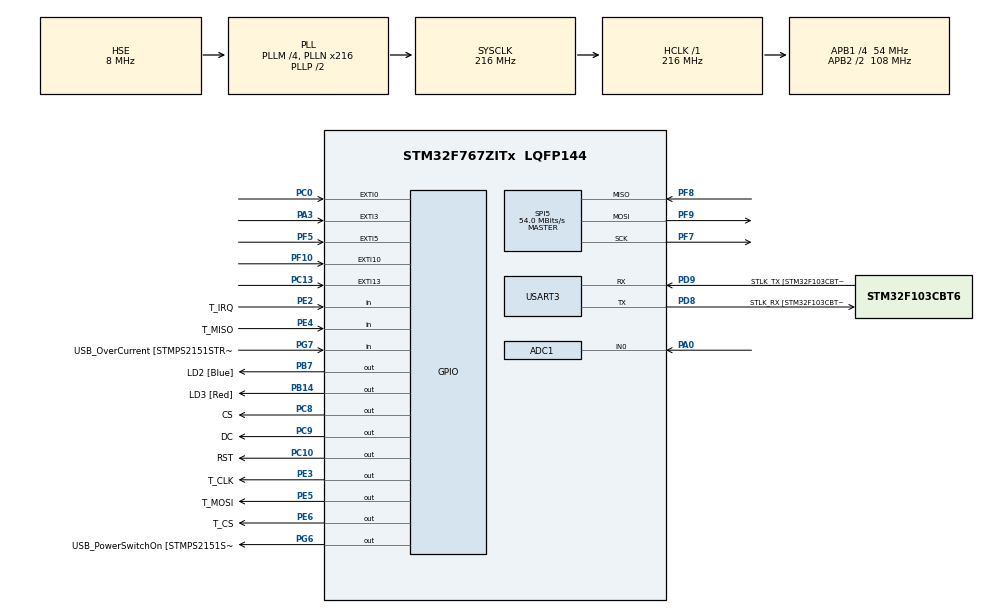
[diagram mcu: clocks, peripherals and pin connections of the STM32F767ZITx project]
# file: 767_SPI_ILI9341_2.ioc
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ADC1.Channel-1\#ChannelRegularConversion=ADC_CHANNEL_0
ADC1.ContinuousConvMode=ENABLE
ADC1.DMAContinuousRequests=ENABLE
ADC1.EOCSelection=ADC_EOC_SEQ_CONV
ADC1.NbrOfConversionFlag=1
ADC1.Rank-1\#ChannelRegularConversion=1
ADC1.SamplingTime-1\#ChannelRegularConversion=ADC_SAMPLETIME_480CYCLES
ADC1.master=1
CORTEX_M7.ART_ACCLERATOR_ENABLE=1
CORTEX_M7.CPU_DCache=Enabled
CORTEX_M7.CPU_ICache=Enabled
CORTEX_M7.PREFETCH_ENABLE=1
Dma.ADC1.0.Direction=DMA_PERIPH_TO_MEMORY
Dma.ADC1.0.FIFOMode=DMA_FIFOMODE_DISABLE
Dma.ADC1.0.Instance=DMA2_Stream0
Dma.ADC1.0.MemDataAlignment=DMA_MDATAALIGN_HALFWORD
Dma.ADC1.0.MemInc=DMA_MINC_ENABLE
Dma.ADC1.0.Mode=DMA_CIRCULAR
Dma.ADC1.0.PeriphDataAlignment=DMA_PDATAALIGN_HALFWORD
Dma.ADC1.0.PeriphInc=DMA_PINC_DISABLE
Dma.ADC1.0.Priority=DMA_PRIORITY_LOW
Dma.Request0=ADC1
Mcu.Family=STM32F7
Mcu.Name=STM32F767ZITx
Mcu.Package=LQFP144
NVIC.DMA2_Stream0_IRQn=true\:0\:0\:false\:false\:true\:false\:true\:true
NVIC.EXTI0_IRQn=true\:1\:0\:true\:false\:true\:true\:true\:true
NVIC.EXTI15_10_IRQn=true\:4\:0\:true\:false\:true\:true\:true\:true
NVIC.EXTI3_IRQn=true\:2\:0\:true\:false\:true\:true\:true\:true
NVIC.EXTI9_5_IRQn=true\:3\:0\:true\:false\:true\:true\:true\:true
NVIC.PriorityGroup=NVIC_PRIORITYGROUP_4
NVIC.TIM1_UP_TIM10_IRQn=true\:1\:0\:true\:false\:true\:true\:true\:true
NVIC.TIM3_IRQn=true\:1\:0\:true\:false\:true\:true\:true\:true
PA0/WKUP.Signal=ADCx_IN0
PA1.GPIO_Label=RMII_REF_CLK [LAN8742A-CZ-TR_REFCLK0]
PA1.Signal=ETH_REF_CLK
PA13.GPIO_Label=TMS
PA13.Mode=Serial_Wire
PA13.Signal=SYS_JTMS-SWDIO
PA14.GPIO_Label=TCK
PA14.Mode=Serial_Wire
PA14.Signal=SYS_JTCK-SWCLK
PA2.GPIO_Label=RMII_MDIO [LAN8742A-CZ-TR_MDIO]
PA2.Signal=ETH_MDIO
PA3.Signal=GPXTI3
PA7.GPIO_Label=RMII_CRS_DV [LAN8742A-CZ-TR_CRS_DV]
PA7.Signal=ETH_CRS_DV
PB13.GPIO_Label=RMII_TXD1 [LAN8742A-CZ-TR_TXD1]
PB13.Signal=ETH_TXD1
PB14.GPIO_Label=LD3 [Red]
PB14.Signal=GPIO_Output
PB3.GPIO_Label=SWO
PB3.Signal=SYS_JTDO-SWO
PB7.GPIO_Label=LD2 [Blue]
PB7.Signal=GPIO_Output
PC0.Signal=GPXTI0
PC1.GPIO_Label=RMII_MDC [LAN8742A-CZ-TR_MDC]
PC1.Signal=ETH_MDC
PC10.GPIO_Label=RST
PC10.GPIO_Speed=GPIO_SPEED_FREQ_VERY_HIGH
PC10.Signal=GPIO_Output
PC13.Signal=GPXTI13
PC14/OSC32_IN.Mode=LSE-External-Oscillator
PC14/OSC32_IN.Signal=RCC_OSC32_IN
PC15/OSC32_OUT.Mode=LSE-External-Oscillator
PC15/OSC32_OUT.Signal=RCC_OSC32_OUT
PC4.GPIO_Label=RMII_RXD0 [LAN8742A-CZ-TR_RXD0]
PC4.Signal=ETH_RXD0
PC5.GPIO_Label=RMII_RXD1 [LAN8742A-CZ-TR_RXD1]
PC5.Signal=ETH_RXD1
PC8.GPIO_Label=CS
PC8.GPIO_Speed=GPIO_SPEED_FREQ_VERY_HIGH
PC8.Signal=GPIO_Output
PC9.GPIO_Label=DC
PC9.GPIO_Speed=GPIO_SPEED_FREQ_VERY_HIGH
PC9.Signal=GPIO_Output
PD8.GPIO_Label=STLK_RX [STM32F103CBT6_PA3]
PD8.Mode=Asynchronous
PD8.Signal=USART3_TX
PD9.GPIO_Label=STLK_TX [STM32F103CBT6_PA2]
PD9.Mode=Asynchronous
PD9.Signal=USART3_RX
PE2.GPIO_Label=T_IRQ
PE2.Signal=GPIO_Input
PE3.GPIO_Label=T_CLK
PE3.GPIO_Speed=GPIO_SPEED_FREQ_VERY_HIGH
PE3.Signal=GPIO_Output
PE4.GPIO_Label=T_MISO
PE4.Signal=GPIO_Input
PE5.GPIO_Label=T_MOSI
PE5.GPIO_Speed=GPIO_SPEED_FREQ_VERY_HIGH
PE5.Signal=GPIO_Output
PE6.GPIO_Label=T_CS
PE6.GPIO_Speed=GPIO_SPEED_FREQ_VERY_HIGH
PE6.Signal=GPIO_Output
PF10.Signal=GPXTI10
PF5.Signal=GPXTI5
PF7.Mode=Full_Duplex_Master
PF7.Signal=SPI5_SCK
PF8.Mode=Full_Duplex_Master
PF8.Signal=SPI5_MISO
PF9.Mode=Full_Duplex_Master
PF9.Signal=SPI5_MOSI
PG11.GPIO_Label=RMII_TX_EN [LAN8742A-CZ-TR_TXEN]
PG11.Signal=ETH_TX_EN
PG13.GPIO_Label=RMII_TXD0 [LAN8742A-CZ-TR_TXD0]
PG13.Signal=ETH_TXD0
PG6.GPIO_Label=USB_PowerSwitchOn [STMPS2151STR_EN]
PG6.Signal=GPIO_Output
PG7.GPIO_Label=USB_OverCurrent [STMPS2151STR_FAULT]
PG7.Signal=GPIO_Input
PH0/OSC_IN.GPIO_Label=MCO [STM32F103CBT6_PA8]
PH0/OSC_IN.Mode=HSE-External-Clock-Source
PH0/OSC_IN.Signal=RCC_OSC_IN
PH1/OSC_OUT.Mode=HSE-External-Clock-Source
PH1/OSC_OUT.Signal=RCC_OSC_OUT
ProjectManager.HeapSize=0x200
ProjectManager.StackSize=0x400
ProjectManager.TargetToolchain=STM32CubeIDE
RCC.48MHZClocksFreq_Value=24000000
RCC.AHBFreq_Value=216000000
RCC.APB1CLKDivider=RCC_HCLK_DIV4
RCC.APB1Freq_Value=54000000
RCC.APB1TimFreq_Value=108000000
RCC.APB2CLKDivider=RCC_HCLK_DIV2
RCC.APB2Freq_Value=108000000
RCC.APB2TimFreq_Value=216000000
RCC.CortexFreq_Value=216000000
RCC.HCLKFreq_Value=216000000
RCC.HSE_VALUE=8000000
RCC.HSI_VALUE=16000000
RCC.PLLM=4
RCC.PLLMUL=RCC_PLL_MUL9
RCC.PLLN=216
RCC.PLLQ=9
RCC.PLLSourceVirtual=RCC_PLLSOURCE_HSE
RCC.PRESCALERUSB=RCC_USBCLKSOURCE_PLL_DIV1_5
RCC.SYSCLKFreq_VALUE=216000000
RCC.SYSCLKSource=RCC_SYSCLKSOURCE_PLLCLK
RCC.SYSCLKSourceVirtual=RCC_SYSCLKSOURCE_PLLCLK
RCC.USBFreq_Value=48000000
RCC.VCOOutputFreq_Value=432000000
SH.ADCx_IN0.0=ADC1_IN0,IN0
SH.S_TIM2_CH4.0=TIM2_CH4,PWM Generation4 CH4
SPI5.CalculateBaudRate=54.0 MBits/s
SPI5.DataSize=SPI_DATASIZE_8BIT
SPI5.Direction=SPI_DIRECTION_2LINES
SPI5.Mode=SPI_MODE_MASTER
SPI5.NSSPMode=SPI_NSS_PULSE_DISABLE
SPI5.VirtualType=VM_MASTER
TIM1.ClockDivision=TIM_CLOCKDIVISION_DIV1
TIM1.Period=10000-1
TIM1.Prescaler=21600-1
TIM2.Channel-PWM\ Generation4\ CH4=TIM_CHANNEL_4
TIM2.Period=1000-1
TIM3.Period=10-1
TIM3.Prescaler=10800-1
USART3.VirtualMode-Asynchronous=VM_ASYNC
VP_RNG_VS_RNG.Mode=RNG_Activate
VP_TIM1_VS_ClockSourceINT.Mode=Internal
VP_TIM2_VS_ClockSourceINT.Mode=Internal
VP_TIM3_VS_ClockSourceINT.Mode=Internal
board=NUCLEO-F767ZI

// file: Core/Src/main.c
/* USER CODE BEGIN Header */
/**
 ******************************************************************************
 * @file           : main.c
 * @brief          : Main program body
 ******************************************************************************
 * @attention
 *
 * <h2><center>&copy; Copyright (c) 2021 STMicroelectronics.
 * All rights reserved.</center></h2>
 *
 * This software component is licensed by ST under BSD 3-Clause license,
 * the "License"; You may not use this file except in compliance with the
 * License. You may obtain a copy of the License at:
 *                        opensource.org/licenses/BSD-3-Clause
 *
 ******************************************************************************
 */
/* USER CODE END Header */
#include "main.h"
#include "adc.h"
#include "dma.h"
#include "rng.h"
#include "spi.h"
#include "tim.h"
#include "usart.h"
#include "gpio.h"

/* USER CODE BEGIN Includes */
#include "stdio.h"
#include "ILI9341_Touchscreen.h"
#include "flash.h"

#include "ILI9341_STM32_Driver.h"
#include "ILI9341_GFX.h"

#include "snow_tiger.h"
#include "sprite_animator.h"
#include "ui_manager.h"
#include "moodeng.h"
#include "timer.h"
#include "stm32f7xx_hal.h"
#include "buzzer.h"
#include <string.h>
#include "sound.h"
// #include "string.h"
/* USER CODE END Includes */

/* USER CODE BEGIN PV */
/* Private variables ---------------------------------------------------------*/

// const char* stateNames[STATE_COUNT] = {
//     "Idle",
//     "Meal Time",
//     "Mini Game",
//     "Sleep",
//     "Cleanup",
//     "Medicine"
// };

UIManager_t ui;
Moodeng_t moodeng;
Clock_t gameClock;
uint32_t lastUpdateTime = 0;

Food_t foodSelected = MEAL;

/* USER CODE END PV */

void SystemClock_Config(void);

/* USER CODE BEGIN 0 */
void printStatus(void)
{
    const char *emotionStr;
    switch (moodeng.emotion)
    {
    case NORMAL:
        emotionStr = "NORMAL";
        break;
    case SILLY:
        emotionStr = "SILLY";
        break;
    case SCOLDED:
        emotionStr = "SCOLDED";
        break;
    default:
        emotionStr = "UNKNOWN";
        break;
    }

    char msg[512];
    int n = snprintf(msg, sizeof(msg),
                     "Time: %02d:%02d:%02d\r\n"
                     "Happy: %d\r\n"
                     "Weight: %d\r\n"
                     "Hunger: %d\r\n"
                     "PoopCount: %d\r\n"
                     "PoopRate: %.2f\r\n"
                     "isSick: %d\r\n"
                     "HealRate: %.2f\r\n"
                     "Discipline: %d\r\n"
                     "isTired: %d\r\n"
                     "Evolution: %d\r\n"
                     "isAlive: %d\r\n"
                     "Emotion: %s\r\n"
                     "nextDecayHappy: %d\r\n"
                     "nextDecayHunger: %d\r\n"
                     "nextPoopTime: %d\r\n"
                     "nextSickTime: %d\r\n"
                     "nextHurtTime: %d\r\n"
                     "nextDirtyTime: %d\r\n"
                     "nextSleepyTime: %d\r\n"
                     "sleepingTime: %d\r\n"
                     "isSleeping: %d\r\n"
                     "--------------------------\r\n",
                     gameClock.hour, gameClock.minute, gameClock.second,
                     moodeng.happy,
                     moodeng.weight,
                     moodeng.hunger,
                     moodeng.poopCount,
                     moodeng.poopRate,
                     moodeng.isSick,
                     moodeng.healRate,
                     moodeng.discipline,
                     moodeng.isTired,
                     moodeng.evolution,
                     moodeng.isAlive,
                     emotionStr,
                     moodeng.nextDecayHappy,
                     moodeng.nextDecayHunger,
                     moodeng.nextPoopTime,
                     moodeng.nextSickTime,
                     moodeng.nextHurtTime,
                     moodeng.nextDirtyTime,
                     moodeng.nextSleepyTime,
                     moodeng.sleepingTime,
                     moodeng.isSleeping);

    if (n > 0)
    {
        HAL_UART_Transmit(&huart3, (uint8_t *)msg, n, HAL_MAX_DELAY);
    }
}

void printValue(int value)
{
    char msg[32];
    int n = snprintf(msg, sizeof(msg), "Value: %02d\r\n", value);
    if (n > 0)
    {
        HAL_UART_Transmit(&huart3, (uint8_t *)msg, n, HAL_MAX_DELAY);
    }
}

void HAL_GPIO_EXTI_Callback(uint16_t GPIO_Pin)
{
    switch (GPIO_Pin)
    {
    case GPIO_PIN_0:
        Handle_Button_Yellow();
        break;

    case GPIO_PIN_3:
        Handle_Button_Red();
        break;

    case GPIO_PIN_5:
        Handle_Button_Blue();
        break;

    case GPIO_PIN_13:
        Moodeng_WriteFlashData(&moodeng);
        break;

    default:
        break;
    }
}

void Handle_Button_Yellow(void);
void Handle_Button_Red(void);
void Handle_Button_Blue(void);
/* USER CODE END 0 */

int main(void)
{

    /* Enable the CPU Cache */

    /* Enable I-Cache---------------------------------------------------------*/
    SCB_EnableICache();

    /* Enable D-Cache---------------------------------------------------------*/
    SCB_EnableDCache();

    /* MCU Configuration--------------------------------------------------------*/

    /* Reset of all peripherals, Initializes the Flash interface and the Systick. */
    HAL_Init();

    /* Configure the system clock */
    SystemClock_Config();

    /* Initialize all configured peripherals */
    MX_GPIO_Init();
    MX_DMA_Init();
    MX_USART3_UART_Init();
    MX_SPI5_Init();
    MX_TIM1_Init();
    MX_RNG_Init();
    MX_ADC1_Init();
    MX_TIM2_Init();
    MX_TIM3_Init();

    /* USER CODE BEGIN 2 */
    Timer_Init(&gameClock);
    Moodeng_Init(&moodeng);
    ILI9341_Init(); // initial driver setup to drive ili9341
    ILI9341_Set_Rotation(SCREEN_VERTICAL_1);
    ILI9341_Fill_Screen(DARKGREY);

    UIManager_Init(&ui);
    ui.menuState = MENU_MAIN;     // confirmed state
    ui.selectedState = MENU_MAIN; // highlighted state

    HAL_ADC_Start(&hadc1);
    HAL_TIM_Base_Start_IT(&htim1);
    // Buzzer
    HAL_TIM_Base_Start_IT(&htim3);
    HAL_TIM_PWM_Start(&htim2, TIM_CHANNEL_4);
    __HAL_TIM_SET_COMPARE(&htim2, TIM_CHANNEL_4, 500); // duty cycle 50% (loudest)
    // buzzer_play_sound(mario);
    //    __HAL_TIM_SET_PRESCALER(&htim2, 53);

    //  if (HAL_ADC_Start_DMA(&hadc1, (uint32_t*)adc_buf, ADC_CH_COUNT) != HAL_OK) {
    //      Error_Handler();
    //  }

    /* USER CODE END 2 */

    /* Infinite loop */
    while (1)
    {

        /* USER CODE BEGIN 3 */

        //printStatus();
        uint32_t currentTime = HAL_GetTick();

        UIManager_Update(&ui, currentTime);

        if (currentTime - lastUpdateTime >= 100)
        {
            UIManager_Draw(&ui);
            lastUpdateTime = currentTime;
        }
    }
    /* USER CODE END 3 */
}
void SystemClock_Config(void)
{
    RCC_OscInitTypeDef RCC_OscInitStruct = {0};
    RCC_ClkInitTypeDef RCC_ClkInitStruct = {0};

    /** Configure LSE Drive Capability
     */
    HAL_PWR_EnableBkUpAccess();

    /** Configure the main internal regulator output voltage
     */
    __HAL_RCC_PWR_CLK_ENABLE();
    __HAL_PWR_VOLTAGESCALING_CONFIG(PWR_REGULATOR_VOLTAGE_SCALE1);

    /** Initializes the RCC Oscillators according to the specified parameters
     * in the RCC_OscInitTypeDef structure.
     */
    RCC_OscInitStruct.OscillatorType = RCC_OSCILLATORTYPE_HSE;
    RCC_OscInitStruct.HSEState = RCC_HSE_BYPASS;
    RCC_OscInitStruct.PLL.PLLState = RCC_PLL_ON;
    RCC_OscInitStruct.PLL.PLLSource = RCC_PLLSOURCE_HSE;
    RCC_OscInitStruct.PLL.PLLM = 4;
    RCC_OscInitStruct.PLL.PLLN = 216;
    RCC_OscInitStruct.PLL.PLLP = RCC_PLLP_DIV2;
    RCC_OscInitStruct.PLL.PLLQ = 9;
    RCC_OscInitStruct.PLL.PLLR = 2;
    if (HAL_RCC_OscConfig(&RCC_OscInitStruct) != HAL_OK)
    {
        Error_Handler();
    }

    /** Activate the Over-Drive mode
     */
    if (HAL_PWREx_EnableOverDrive() != HAL_OK)
    {
        Error_Handler();
    }

    /** Initializes the CPU, AHB and APB buses clocks
     */
    RCC_ClkInitStruct.ClockType = RCC_CLOCKTYPE_HCLK | RCC_CLOCKTYPE_SYSCLK | RCC_CLOCKTYPE_PCLK1 | RCC_CLOCKTYPE_PCLK2;
    RCC_ClkInitStruct.SYSCLKSource = RCC_SYSCLKSOURCE_PLLCLK;
    RCC_ClkInitStruct.AHBCLKDivider = RCC_SYSCLK_DIV1;
    RCC_ClkInitStruct.APB1CLKDivider = RCC_HCLK_DIV4;
    RCC_ClkInitStruct.APB2CLKDivider = RCC_HCLK_DIV2;

    if (HAL_RCC_ClockConfig(&RCC_ClkInitStruct, FLASH_LATENCY_7) != HAL_OK)
    {
        Error_Handler();
    }
}

/* USER CODE BEGIN 4 */
void Handle_Button_Yellow(void)
{
    if (moodeng.isAlive == false) return;
    //debounce
    static uint32_t lastTick = 0;
    uint32_t now = HAL_GetTick();
    if (now - lastTick < 200)
        return; // debounce
    lastTick = now;

    switch (ui.menuState)
    {
    case MENU_MAIN:
        // select action(menu)
        ui.selectedState = (ui.selectedState + 1) % 6;

        // Sound Beep
        buzzer_play_sound(sound_beep);
        // skip select main menu
        if (ui.selectedState == MENU_MAIN)
            ui.selectedState = MENU_FEED;
        ui.selectedStateAnim->x = 24 + ((ui.selectedState - 1) * 48);
        break;

    case MENU_FEED:
        // select food
        foodSelected = (foodSelected == MEAL) ? SNACK : MEAL;
        setActiveAnim(&ui, (foodSelected == MEAL) ? &feedMealAnim : &feedSnackAnim);
        // Sound Beep
        buzzer_play_sound(sound_beep);
        break;

    case MENU_PLAY:
        // guess left
        // return true if win
        if (Moodeng_Minigame(&moodeng, 0))
        {
            setActiveAnim(&ui, &miniGameCorrectAnim);
            // Sound Win
            buzzer_play_sound(sound_win);
        }
        else
        {
            setActiveAnim(&ui, &miniGameWrongAnim);
            // Sound Lose
            buzzer_play_sound(sound_lose);
        }
        break;

    case MENU_CLEAN:
        setActiveAnim(&ui, &cleanAnim);
        setPoopCount(&moodeng, moodeng.poopCount - 1);
        buzzer_play_sound(sound_clean_up);
        break;

    case MENU_MEDICINE:
        setActiveAnim(&ui, &injectAnim);
        Moodeng_Heal(&moodeng);
        buzzer_play_sound(sound_take_medicine);
        break;

    default:
        break;
    }

}

void Handle_Button_Red(void)
{
    if (moodeng.isAlive == false) return;
    //debounce
    static uint32_t lastTick = 0;
    uint32_t now = HAL_GetTick();
    if (now - lastTick < 200)
        return;
    lastTick = now;
    // exit sleeping
    if (moodeng.isSleeping == true)
    {
        setIsSleeping(&moodeng, false);
        if (moodeng.sleepingTime >= 1800)
        { // seconds
            setIsTired(&moodeng, false);
            setHappy(&moodeng, moodeng.happy + 1);
            setNextSleepyTime(&moodeng, 480);
        }
        setSleepingTime(&moodeng, 0);
    }

    // back to main menu
    if (ui.menuState != MENU_MAIN)
    {
        UIManager_SetState(&ui, MENU_MAIN);

        // Sound Beep
        buzzer_play_sound(sound_beep);
    }
    // in main menu => scolding
    else
    {
        if (moodeng.emotion != SILLY)
        {
            setHappy(&moodeng, moodeng.happy - 1);
            // Sound Sad
            buzzer_play_sound(sound_sad);
        }
        else
        {
            setDiscipline(&moodeng, moodeng.discipline + 1);
            setEmotion(&moodeng, SCOLDED);
            setActiveAnim(&ui, &idleAnim);
            // Sound Happy
            buzzer_play_sound(sound_happy);
        }
    }
}

void Handle_Button_Blue(void)
{
    if (moodeng.isAlive == false) return;
    //debounce
    static uint32_t lastTick = 0;
    uint32_t now = HAL_GetTick();
    if (now - lastTick < 200)
        return;
    lastTick = now;

    switch (ui.menuState)
    {
    // confirm switch menu
    case MENU_MAIN:
        // check if moodeng agree to feeding (not if it goes silly)
        if (ui.selectedState == MENU_FEED)
        {
            if (Moodeng_Check_Feed(&moodeng))
                UIManager_SetState(&ui, ui.selectedState);
            else
            {
                setActiveAnim(&ui, &stubbornAnim);
                ui.selectedState = MENU_MAIN;
                ui.selectedStateAnim->x = 0;
                // Sound stubborn
                buzzer_play_sound(sound_stubborn);
            }
        }
        // check if moodeng agree to playing (not if it goes silly)
        else if (ui.selectedState == MENU_PLAY)
        {
            if (Moodeng_Check_Play(&moodeng))
                UIManager_SetState(&ui, ui.selectedState);
            else
            {
                setActiveAnim(&ui, &stubbornAnim);
                ui.selectedState = MENU_MAIN;
                ui.selectedStateAnim->x = 0;
                // Sound stubborn
                buzzer_play_sound(sound_stubborn);
            }
        }
        else if (ui.selectedState == MENU_SLEEP)
        {
            UIManager_SetState(&ui, ui.selectedState);
            setSleepingTime(&moodeng, 0);
            setIsSleeping(&moodeng, true);
            setActiveAnim(&ui, &sleepAnimDay);
            buzzer_play_sound(sound_sleep);
            Moodeng_WriteFlashData(&moodeng);
        }
        else
        {
            UIManager_SetState(&ui, ui.selectedState);
            // Sound Beep
            buzzer_play_sound(sound_beep);
        }

        break;

    case MENU_FEED:
        // feed meal
        if (foodSelected == MEAL)
        {
            setHunger(&moodeng, moodeng.hunger + 2);
            setWeight(&moodeng, moodeng.weight + 2);
            setPoopRate(&moodeng, moodeng.poopRate + 0.4f);
            // Sound Eat
            buzzer_play_sound(sound_eat);
        }
        // feed snack
        else
        {
            setHappy(&moodeng, moodeng.happy + 2);
            setWeight(&moodeng, moodeng.weight + 4);
            setPoopRate(&moodeng, moodeng.poopRate + 0.6f);
            // Sound Eat
            buzzer_play_sound(sound_eat);
        }
        break;

    case MENU_PLAY:
        // guess right
        // return true if win
        if (Moodeng_Minigame(&moodeng, 1))
        {
            setActiveAnim(&ui, &miniGameCorrectAnim);
            // Sound Win
            buzzer_play_sound(sound_win);
        }
        else
        {
            setActiveAnim(&ui, &miniGameWrongAnim);
            // Sound Lose
            buzzer_play_sound(sound_lose);
        }
        break;
    default:
        break;
    }
}

void HAL_TIM_PeriodElapsedCallback(TIM_HandleTypeDef *htim)
{
    if (htim->Instance == TIM3)
    {
        if (!buzzer.running)
            return;

        // Count down the current phase (sound or silence)
        if (buzzer.ms_left > 0)
        {
            buzzer.ms_left--;
            return;
        }

        if (buzzer.state == BUZZ_PLAYING)
        {
            __HAL_TIM_SET_COMPARE(&htim2, TIM_CHANNEL_4, 0);

            uint32_t totalBeat =
                buzzer.pause ? buzzer.pause[buzzer.idx] : buzzer.duration[buzzer.idx];
            uint32_t silence =
                (totalBeat > (uint32_t)buzzer.duration[buzzer.idx]) ? (totalBeat - (uint32_t)buzzer.duration[buzzer.idx]) : 0;

            buzzer.ms_left = silence;
            buzzer.state = BUZZ_SILENCE;
        }
        else if (buzzer.state == BUZZ_SILENCE)
        {
            buzzer.idx++;

            if (buzzer.idx >= buzzer.size)
            {
                // Sequence finished
                buzzer.running = 0;
                buzzer.state = BUZZ_IDLE;
                __HAL_TIM_SET_COMPARE(&htim2, TIM_CHANNEL_4, 0);
            }
            else
            {
                // Start next tone
                buzzer_set_freq(buzzer.tone[buzzer.idx]);
                __HAL_TIM_SET_COMPARE(&htim2, TIM_CHANNEL_4, 500);
                buzzer.ms_left = buzzer.duration[buzzer.idx];
                buzzer.state = BUZZ_PLAYING;
            }
        }
    }
}
/* USER CODE END 4 */

void Error_Handler(void)
{
    while (1)
    {
    }
}
